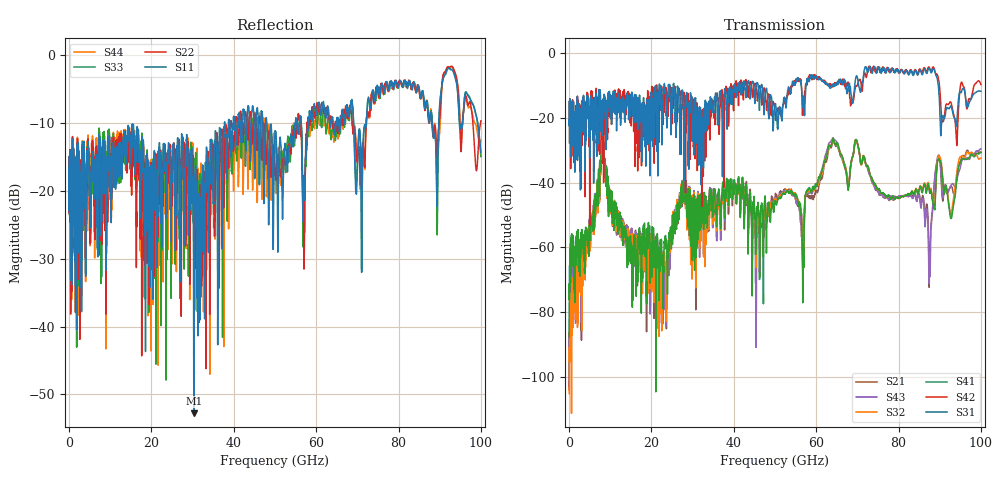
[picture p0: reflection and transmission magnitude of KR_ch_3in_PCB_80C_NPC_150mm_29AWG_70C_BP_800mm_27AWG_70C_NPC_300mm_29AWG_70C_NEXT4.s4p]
# GHz S RI R 45
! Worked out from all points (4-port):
!   4000 points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, 25 MHz to 100 GHz, reference 45 ohm
!   strongest paths, dB at 25 MHz, 25.02 GHz, 50.02 GHz, 75.03 GHz, 100 GHz:
!     S31: -20.6, -14.0, -16.2, -5.1, -11.8
!     S42: -20.7, -17.7, -18.0, -4.4, -9.7
!     S41: -87.6, -55.9, -45.5, -41.9, -30.7
!     S32: -105.1, -50.7, -44.9, -42.0, -32.5
!     S43: -101.4, -52.0, -44.8, -42.6, -29.6
!     S21: -102.2, -53.3, -44.8, -42.7, -30.6
!   lowest |S11| = -52.8 dB at 30.3 GHz (marker M1), VSWR 1.00, Z = 44.8 - j0.0223 ohm
!   |S11| at or under -10 dB: start of sweep to 37.74 GHz; 48.04 GHz to 54.97 GHz (6.937 GHz wide, 13.5 % of centre); 69.08 GHz to 72.18 GHz (3.105 GHz wide, 4.4 % of centre) (the widest 3 of 28)
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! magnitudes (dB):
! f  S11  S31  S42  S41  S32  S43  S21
! 25 MHz  -16.6  -20.6  -20.7  -87.6  -105.1  -101.4  -102.2
! 8.1 GHz  -17.5  -25.5  -22.8  -25.2  -25.6  -25.1  -25.7
! 23 GHz  -13.7  -11.7  -15.3  -67.6  -63.8  -72.1  -72.1
! 30.3 GHz  -52.8  -31.4  -19.7  -45.0  -43.7  -43.4  -43.7
! 64.28 GHz  -10.2  -10.4  -9.8  -26.9  -27.6  -26.4  -27.6
! 87.55 GHz  -9.9  -4.8  -4.7  -43.2  -42.9  -63.4  -60.9
! 100 GHz  -14.3  -11.8  -9.7  -30.7  -32.5  -29.6  -30.6
